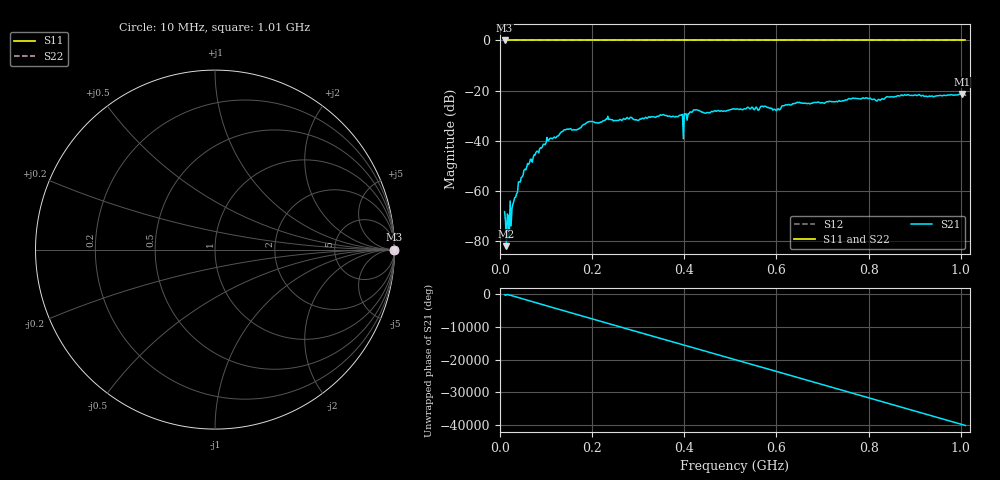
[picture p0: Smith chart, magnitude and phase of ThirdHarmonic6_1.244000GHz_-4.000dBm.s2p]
! 8/16/2025 1:14:16 PM
! C:\ANRITSUVNA\TEMP\TEMP.S2P
! CHANNEL.1
! TR.MEASUREMENT
! RAW.DATA
! RF.CORRECTION.OFF
! AVERAGING.OFF
! IF.BANDWIDTH: 5KHZ
! SWEEPTYPE:  FREQ.SWEEP(Linear)
! Reference Plane Port Info
! PORT:  PORT1  PORT2
! DISTANCE:  0  m  0  m
! TIME:  0  s  0  s
! PHASE.OFFSET:  0  deg.  0  deg.
! LOSS:  0  dB  0  dB
! REF.LOSS:  0  dB  0  dB
! REF.FREQ:  0  Hz  0  Hz
! Power Info
! POWER:  -20  dBm  -20  dBm
! EFF.POWER:  -20  dBm  -20  dBm
! SOURCE.ATTEN:  0  dB  0  dB
! TEST.ATTEN:  0  dB  0  dB
# GHZ S RI R 50.0
! FREQ.GHZ  S11RE  S11IM  S21RE  S21IM  S12RE  S12IM  S22RE  S22IM
!; PortSelection: Port_12
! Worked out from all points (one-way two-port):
!   501 points, 10 MHz to 1.01 GHz, reference 50 ohm
!   highest |S21| = -21.35 dB at 1.002 GHz (marker M1); lowest = -82.1 dB at 14 MHz (marker M2)
!   lowest |S11| = 0.0 dB at 10 MHz (marker M3)
!   |S11| at or under -10 dB: nowhere
!   |S22| runs from 0.0 to 0.0 dB; largest |S21 - S12| = 1.1
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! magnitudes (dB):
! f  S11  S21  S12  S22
! 10 MHz  0.0  -68.4  0.0  0.0
! 14 MHz  0.0  -82.1  0.0  0.0
! 16 MHz  0.0  -69.3  0.0  0.0
! 24 MHz  0.0  -74.0  0.0  0.0
! 26 MHz  0.0  -67.2  0.0  0.0
! 44 MHz  0.0  -56.5  0.0  0.0
! 78 MHz  0.0  -44.7  0.0  0.0
! 106 MHz  0.0  -39.7  0.0  0.0
! 178 MHz  0.0  -34.0  0.0  0.0
! 234 MHz  0.0  -30.3  0.0  0.0
! 344 MHz  0.0  -30.3  0.0  0.0
! 392 MHz  0.0  -29.8  0.0  0.0
! 394 MHz  0.0  -29.7  0.0  0.0
! 402 MHz  0.0  -29.3  0.0  0.0
! 404 MHz  0.0  -29.3  0.0  0.0
! 424 MHz  0.0  -27.8  0.0  0.0
! 510 MHz  0.0  -27.4  0.0  0.0
! 602 MHz  0.0  -27.4  0.0  0.0
! 678 MHz  0.0  -25.1  0.0  0.0
! 844 MHz  0.0  -22.6  0.0  0.0
! 1.002 GHz  0.0  -21.3  0.0  0.0
! 1.01 GHz  0.0  -21.9  0.0  0.0
